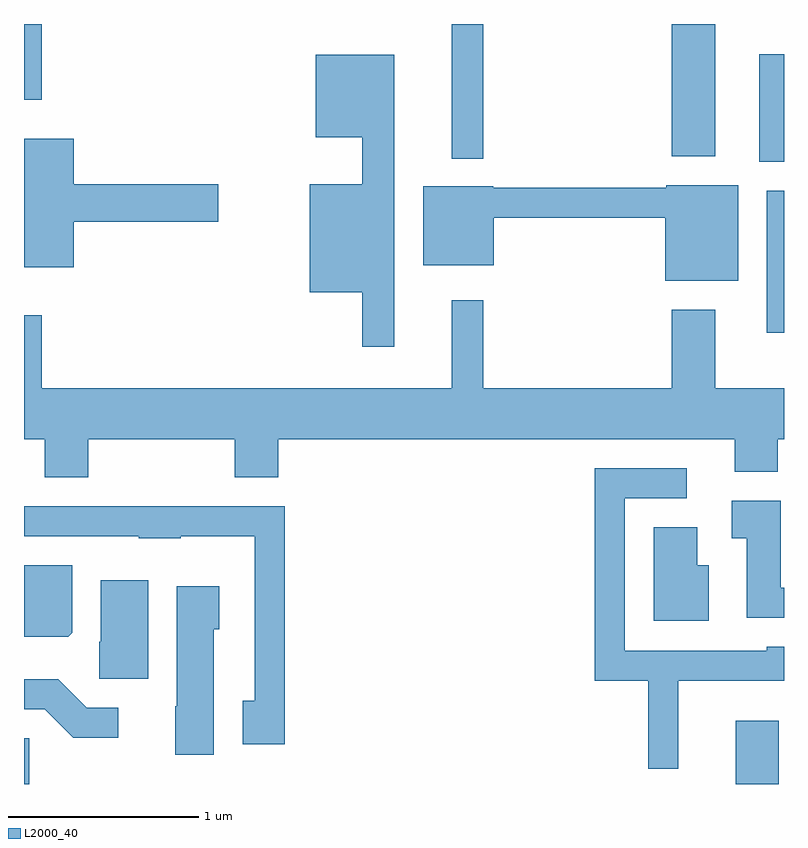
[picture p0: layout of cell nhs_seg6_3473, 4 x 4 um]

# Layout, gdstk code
import gdstk
lib = gdstk.Library(unit=1e-6, precision=1e-09)
def R(c, l, rs):  # rectangles x0, y0, x1, y1
    for r in rs: c.add(gdstk.rectangle(r[:2], r[2:], *l))
def P(c, l, *ps):  # polygons
    for p in ps: c.add(gdstk.Polygon(p, *l))
L2000_40 = (2000, 40)

nhs_seg6_3473 = lib.new_cell('nhs_seg6_3473')
R(nhs_seg6_3473, L2000_40, [(289.611,1608.162,289.639,1608.404), (293.356,1608.162,293.584,1608.494), (293.521,1610.536,293.611,1611.284), (293.481,1611.436,293.611,1612.004), (291.861,1611.453,292.029,1612.162), (293.021,1611.466,293.249,1612.162), (289.611,1611.763,289.704,1612.162)])
P(nhs_seg6_3473, L2000_40, [(291.559,1611.999),(291.146,1611.999),(291.146,1611.566),(291.391,1611.566),(291.391,1611.319),(291.116,1611.319),(291.116,1610.751),(291.391,1610.751),(291.391,1610.463),(291.559,1610.463)],
  [(289.874,1611.121),(290.634,1611.121),(290.634,1611.319),(289.874,1611.319),(289.874,1611.559),(289.611,1611.559),(289.611,1610.881),(289.874,1610.881)],
  [(293.369,1611.314),(292.99,1611.314),(292.99,1611.299),(292.08,1611.299),(292.08,1611.309),(291.711,1611.309),(291.711,1610.891),(292.084,1610.891),(292.084,1611.141),(292.986,1611.141),(292.986,1610.811),(293.369,1610.811)],
  [(289.704,1610.628),(289.611,1610.628),(289.611,1609.976),(289.721,1609.976),(289.721,1609.776),(289.949,1609.776),(289.949,1609.976),(290.721,1609.976),(290.721,1609.776),(290.949,1609.776),(290.949,1609.976),(293.351,1609.976),(293.351,1609.806),(293.579,1609.806),(293.579,1609.976),(293.611,1609.976),(293.611,1610.244),(293.249,1610.244),(293.249,1610.659),(293.021,1610.659),(293.021,1610.244),(292.029,1610.244),(292.029,1610.708),(291.861,1610.708),(291.861,1610.244),(289.704,1610.244)],
  [(293.054,1608.706),(293.611,1608.706),(293.611,1608.884),(293.521,1608.884),(293.521,1608.864),(292.774,1608.864),(292.774,1609.666),(293.098,1609.666),(293.098,1609.824),(292.616,1609.824),(292.616,1608.706),(292.896,1608.706),(292.896,1608.243),(293.054,1608.243)],
  [(293.611,1609.194),(293.594,1609.194),(293.594,1609.654),(293.336,1609.654),(293.336,1609.456),(293.416,1609.456),(293.416,1609.036),(293.611,1609.036)],
  [(290.984,1609.624),(289.611,1609.624),(289.611,1609.466),(290.215,1609.466),(290.215,1609.456),(290.435,1609.456),(290.435,1609.466),(290.826,1609.466),(290.826,1608.599),(290.761,1608.599),(290.761,1608.371),(290.984,1608.371)],
  [(293.214,1609.314),(293.154,1609.314),(293.154,1609.514),(292.926,1609.514),(292.926,1609.021),(293.214,1609.021)],
  [(289.864,1608.957),(289.864,1609.314),(289.611,1609.314),(289.611,1608.936),(289.844,1608.936)],
  [(290.264,1609.234),(290.016,1609.234),(290.016,1608.91),(290.006,1608.91),(290.006,1608.716),(290.264,1608.716)],
  [(290.609,1608.976),(290.639,1608.976),(290.639,1609.204),(290.416,1609.204),(290.416,1608.57),(290.406,1608.57),(290.406,1608.316),(290.609,1608.316)],
  [(290.108,1608.564),(289.942,1608.564),(289.792,1608.714),(289.611,1608.714),(289.611,1608.556),(289.719,1608.556),(289.869,1608.406),(290.108,1608.406)])

lib.write_gds('nhs_seg6_3473.gds')
